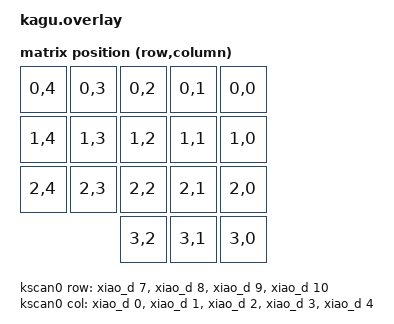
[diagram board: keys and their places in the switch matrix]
#include <dt-bindings/zmk/matrix_transform.h>

/ {
      chosen {
              zmk,kscan = &kscan0;
              zmk,matrix-transform = &default_transform;
      };

      kscan0: kscan {
        compatible = "zmk,kscan-gpio-matrix";
        diode-direction = "col2row";
        wakeup-source;

        col-gpios
          = <&xiao_d 0 GPIO_ACTIVE_HIGH>   // D0  col1
          , <&xiao_d 1 GPIO_ACTIVE_HIGH>   // D1  col2
          , <&xiao_d 2 GPIO_ACTIVE_HIGH>   // D2  col3
          , <&xiao_d 3 GPIO_ACTIVE_HIGH>   // D3  col4
          , <&xiao_d 4 GPIO_ACTIVE_HIGH>   // D4  col5
          ;

        row-gpios
          = <&xiao_d 7 (GPIO_ACTIVE_HIGH | GPIO_PULL_DOWN)>   // D7   row1
          , <&xiao_d 8 (GPIO_ACTIVE_HIGH | GPIO_PULL_DOWN)>   // D8   row2
          , <&xiao_d 9 (GPIO_ACTIVE_HIGH | GPIO_PULL_DOWN)>   // D9   row3
          , <&xiao_d 10 (GPIO_ACTIVE_HIGH | GPIO_PULL_DOWN)>  // D10  row4
          ;
      };

      default_transform: keymap_transform {
        compatible = "zmk,matrix-transform";
        columns = <5>;
        rows = <4>;
        map = <
          RC(0,4) RC(0,3) RC(0,2) RC(0,1) RC(0,0)
          RC(1,4) RC(1,3) RC(1,2) RC(1,1) RC(1,0)
          RC(2,4) RC(2,3) RC(2,2) RC(2,1) RC(2,0)
                          RC(3,2) RC(3,1) RC(3,0)
        >;
      };
};

/* / { */
/*       aliases { */
/*               led-red = &led0; */
/*               led-green = &led1; */
/*               led-blue = &led2; */
/*       }; */
/**/
/*       leds { status = "okay"; }; */
/* }; */

/* &led0 { gpios = <&gpio1 13 GPIO_ACTIVE_HIGH>; };    // D8  = P1.13 */
/* &led1 { gpios = <&gpio1 14 GPIO_ACTIVE_HIGH>; };    // D9  = P1.14 */
/* &led2 { gpios = <&gpio1 15 GPIO_ACTIVE_HIGH>; };    // D10 = P1.15 */
